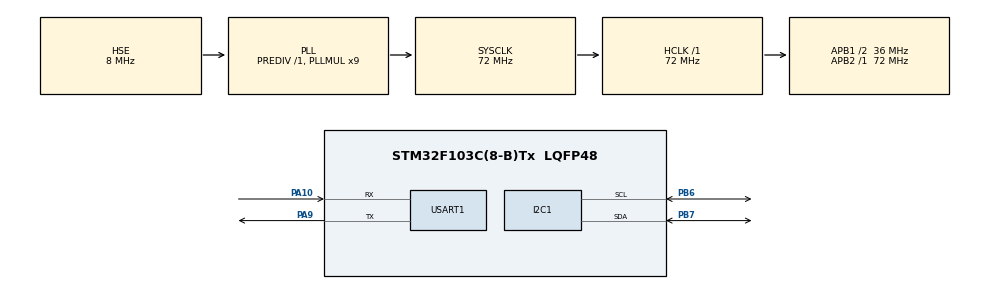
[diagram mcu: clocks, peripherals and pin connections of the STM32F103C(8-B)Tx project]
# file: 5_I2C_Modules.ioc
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Mcu.Family=STM32F1
RCC.PLLSourceVirtual=RCC_PLLSOURCE_HSE
PD1-OSC_OUT.Mode=HSE-External-Oscillator
PA10.Mode=Asynchronous
PD0-OSC_IN.Signal=RCC_OSC_IN
RCC.APB1CLKDivider=RCC_HCLK_DIV2
RCC.SYSCLKSource=RCC_SYSCLKSOURCE_PLLCLK
ProjectManager.StackSize=0x400
PD1-OSC_OUT.Signal=RCC_OSC_OUT
PA13.Signal=SYS_JTMS-SWDIO
PA9.Mode=Asynchronous
ProjectManager.TargetToolchain=STM32CubeIDE
RCC.HCLKFreq_Value=72000000
RCC.APB2TimFreq_Value=72000000
PA9.Signal=USART1_TX
PB6.Signal=I2C1_SCL
PB6.Mode=I2C
RCC.USBFreq_Value=72000000
RCC.AHBFreq_Value=72000000
PD0-OSC_IN.Mode=HSE-External-Oscillator
board=custom
RCC.PLLMUL=RCC_PLL_MUL9
RCC.APB2Freq_Value=72000000
PA14.Mode=Serial_Wire
PB7.Signal=I2C1_SDA
PA13.Mode=Serial_Wire
Mcu.Name=STM32F103C(8-B)Tx
RCC.SYSCLKFreq_VALUE=72000000
Mcu.Package=LQFP48
USART1.VirtualMode=VM_ASYNC
PB7.Mode=I2C
PA10.Signal=USART1_RX
PA14.Signal=SYS_JTCK-SWCLK
ProjectManager.HeapSize=0x200
NVIC.PriorityGroup=NVIC_PRIORITYGROUP_4
RCC.APB1TimFreq_Value=72000000
RCC.APB1Freq_Value=36000000

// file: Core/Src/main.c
/* USER CODE BEGIN Header */
/**
  ******************************************************************************
  * @file           : main.c
  * @brief          : Main program body
  ******************************************************************************
  * @attention
  *
  * <h2><center>&copy; Copyright (c) 2021 STMicroelectronics.
  * All rights reserved.</center></h2>
  *
  * This software component is licensed by ST under BSD 3-Clause license,
  * the "License"; You may not use this file except in compliance with the
  * License. You may obtain a copy of the License at:
  *                        opensource.org/licenses/BSD-3-Clause
  *
  ******************************************************************************
  */
/* USER CODE END Header */
#include "main.h"

/* USER CODE BEGIN Includes */
#include "ds1307_for_stm32_hal.h"
/* USER CODE END Includes */

I2C_HandleTypeDef hi2c1;

UART_HandleTypeDef huart1;

void SystemClock_Config(void);
static void MX_GPIO_Init(void);
static void MX_I2C1_Init(void);
static void MX_USART1_UART_Init(void);

int main(void)
{

  /* MCU Configuration--------------------------------------------------------*/

  /* Reset of all peripherals, Initializes the Flash interface and the Systick. */
  HAL_Init();

  /* Configure the system clock */
  SystemClock_Config();

  /* Initialize all configured peripherals */
  MX_GPIO_Init();
  MX_I2C1_Init();
  MX_USART1_UART_Init();
  /* USER CODE BEGIN 2 */
  DS1307_Init(&hi2c1);
  	DS1307_SetTimeZone(+7, 00);
  		DS1307_SetDate(23);
  		DS1307_SetMonth(3);
  		DS1307_SetYear(2021);
  		DS1307_SetDayOfWeek(2);
  		DS1307_SetHour(8);
  		DS1307_SetMinute(59);
  		DS1307_SetSecond(30);
  		HAL_Delay(1);
  /* USER CODE END 2 */

  /* Infinite loop */
  while (1)
  {

    /* USER CODE BEGIN 3 */
	  uint8_t date = DS1307_GetDate();
	  		uint8_t month = DS1307_GetMonth();
	  		uint16_t year = DS1307_GetYear();
	  		uint8_t dow = DS1307_GetDayOfWeek();
	  		uint8_t hour = DS1307_GetHour();
	  		uint8_t minute = DS1307_GetMinute();
	  		uint8_t second = DS1307_GetSecond();
	  		int8_t zone_hr = DS1307_GetTimeZoneHour();
	  		uint8_t zone_min = DS1307_GetTimeZoneMin();
	  		HAL_Delay(200);
  }
  /* USER CODE END 3 */
}

void SystemClock_Config(void)
{
  RCC_OscInitTypeDef RCC_OscInitStruct = {0};
  RCC_ClkInitTypeDef RCC_ClkInitStruct = {0};

  /** Initializes the RCC Oscillators according to the specified parameters
  * in the RCC_OscInitTypeDef structure.
  */
  RCC_OscInitStruct.OscillatorType = RCC_OSCILLATORTYPE_HSE;
  RCC_OscInitStruct.HSEState = RCC_HSE_ON;
  RCC_OscInitStruct.HSEPredivValue = RCC_HSE_PREDIV_DIV1;
  RCC_OscInitStruct.HSIState = RCC_HSI_ON;
  RCC_OscInitStruct.PLL.PLLState = RCC_PLL_ON;
  RCC_OscInitStruct.PLL.PLLSource = RCC_PLLSOURCE_HSE;
  RCC_OscInitStruct.PLL.PLLMUL = RCC_PLL_MUL9;
  if (HAL_RCC_OscConfig(&RCC_OscInitStruct) != HAL_OK)
  {
    Error_Handler();
  }
  /** Initializes the CPU, AHB and APB buses clocks
  */
  RCC_ClkInitStruct.ClockType = RCC_CLOCKTYPE_HCLK|RCC_CLOCKTYPE_SYSCLK
                              |RCC_CLOCKTYPE_PCLK1|RCC_CLOCKTYPE_PCLK2;
  RCC_ClkInitStruct.SYSCLKSource = RCC_SYSCLKSOURCE_PLLCLK;
  RCC_ClkInitStruct.AHBCLKDivider = RCC_SYSCLK_DIV1;
  RCC_ClkInitStruct.APB1CLKDivider = RCC_HCLK_DIV2;
  RCC_ClkInitStruct.APB2CLKDivider = RCC_HCLK_DIV1;

  if (HAL_RCC_ClockConfig(&RCC_ClkInitStruct, FLASH_LATENCY_2) != HAL_OK)
  {
    Error_Handler();
  }
}

static void MX_I2C1_Init(void)
{

  hi2c1.Instance = I2C1;
  hi2c1.Init.ClockSpeed = 100000;
  hi2c1.Init.DutyCycle = I2C_DUTYCYCLE_2;
  hi2c1.Init.OwnAddress1 = 0;
  hi2c1.Init.AddressingMode = I2C_ADDRESSINGMODE_7BIT;
  hi2c1.Init.DualAddressMode = I2C_DUALADDRESS_DISABLE;
  hi2c1.Init.OwnAddress2 = 0;
  hi2c1.Init.GeneralCallMode = I2C_GENERALCALL_DISABLE;
  hi2c1.Init.NoStretchMode = I2C_NOSTRETCH_DISABLE;
  if (HAL_I2C_Init(&hi2c1) != HAL_OK)
  {
    Error_Handler();
  }

}

static void MX_USART1_UART_Init(void)
{

  huart1.Instance = USART1;
  huart1.Init.BaudRate = 115200;
  huart1.Init.WordLength = UART_WORDLENGTH_8B;
  huart1.Init.StopBits = UART_STOPBITS_1;
  huart1.Init.Parity = UART_PARITY_NONE;
  huart1.Init.Mode = UART_MODE_TX_RX;
  huart1.Init.HwFlowCtl = UART_HWCONTROL_NONE;
  huart1.Init.OverSampling = UART_OVERSAMPLING_16;
  if (HAL_UART_Init(&huart1) != HAL_OK)
  {
    Error_Handler();
  }

}

static void MX_GPIO_Init(void)
{

  /* GPIO Ports Clock Enable */
  __HAL_RCC_GPIOD_CLK_ENABLE();
  __HAL_RCC_GPIOA_CLK_ENABLE();
  __HAL_RCC_GPIOB_CLK_ENABLE();

}

void Error_Handler(void)
{
  __disable_irq();
  while (1)
  {
  }
}

/************************ (C) COPYRIGHT STMicroelectronics *****END OF FILE****/
